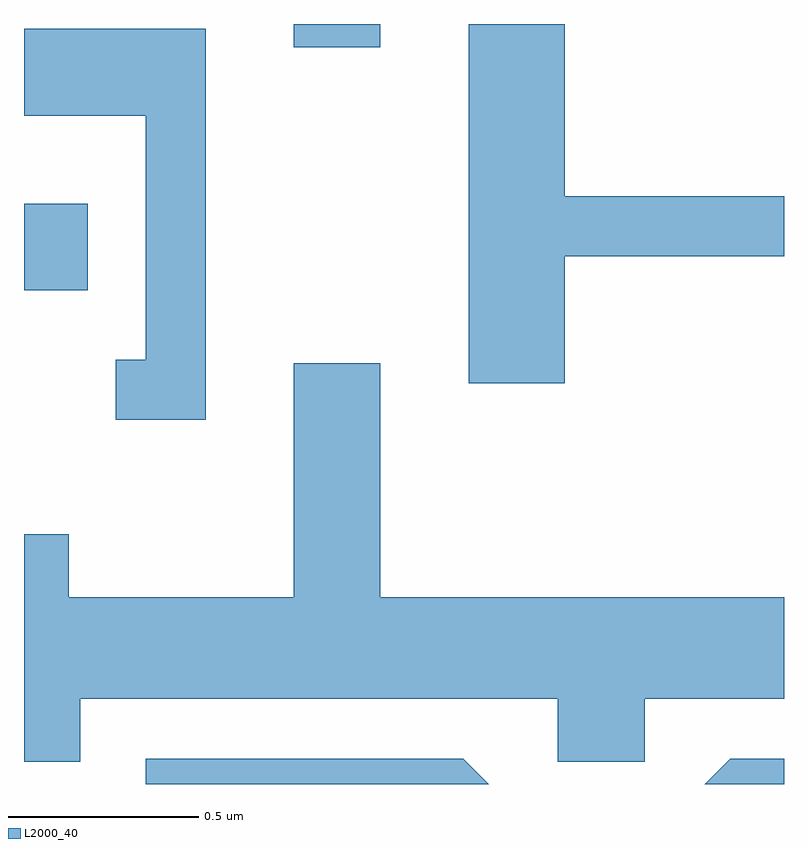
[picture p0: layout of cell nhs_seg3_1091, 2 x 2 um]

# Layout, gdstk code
import gdstk
lib = gdstk.Library(unit=1e-6, precision=1e-09)
def R(c, l, rs):  # rectangles x0, y0, x1, y1
    for r in rs: c.add(gdstk.rectangle(r[:2], r[2:], *l))
def P(c, l, *ps):  # polygons
    for p in ps: c.add(gdstk.Polygon(p, *l))
L2000_40 = (2000, 40)

nhs_seg3_1091 = lib.new_cell('nhs_seg3_1091')
R(nhs_seg3_1091, L2000_40, [(192.611,1249.191,192.779,1249.419), (193.321,1249.831,193.549,1249.892)])
P(nhs_seg3_1091, L2000_40, [(194.034,1249.281),(194.611,1249.281),(194.611,1249.439),(194.034,1249.439),(194.034,1249.892),(193.781,1249.892),(193.781,1248.946),(194.034,1248.946)],
  [(193.089,1249.879),(192.611,1249.879),(192.611,1249.651),(192.931,1249.651),(192.931,1249.009),(192.853,1249.009),(192.853,1248.851),(193.089,1248.851)],
  [(192.759,1248.116),(194.016,1248.116),(194.016,1247.951),(194.244,1247.951),(194.244,1248.116),(194.611,1248.116),(194.611,1248.384),(193.549,1248.384),(193.549,1248.999),(193.321,1248.999),(193.321,1248.384),(192.729,1248.384),(192.729,1248.549),(192.611,1248.549),(192.611,1247.951),(192.759,1247.951)],
  [(194.611,1247.959),(194.469,1247.959),(194.402,1247.892),(194.611,1247.892)],
  [(193.767,1247.959),(192.931,1247.959),(192.931,1247.892),(193.834,1247.892)])

lib.write_gds('nhs_seg3_1091.gds')
